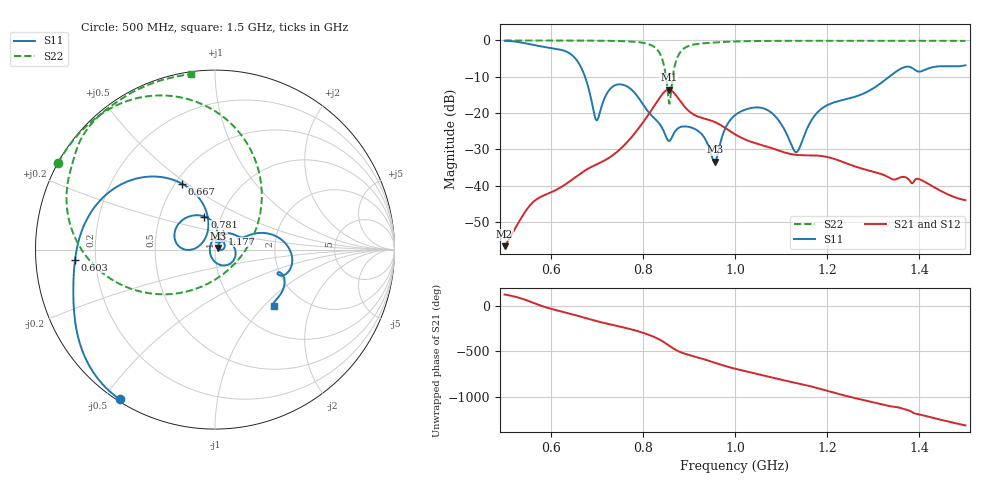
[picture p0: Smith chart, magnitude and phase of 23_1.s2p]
! TOUCHSTONE file generated by CST MICROWAVE STUDIO
! Date and time: Mon Oct 26 12:07:54 2020
! Project name: Scenario_1_Circular_Tissue_out_of_Line_v2.cst
! Parameters = {dy1=34.6; L_HA=400; MT=2.54; Rad_Dielectric=30; Rad_Lower=7.3; Rad_Upper=30; a_HA=580; a_WG=246; b_HA=500; b_WG=121; c_HA=0; c_WG=187; d_feed=85; dx1=173; h_feed=15; h_lower=18; h_upper=40}
! Header version: 2018
! Port assignment regex: !\s*Touchstone port\s*([0-9]+)\s*=\s*(CST MWS port|CST DS port)\s*([0-9]+|Zmin|Zmax)\s*\(\"(.*)\"\)(\s*mode\s*([0-9]+))?.*
! Touchstone port assignment:
! Touchstone port 1 = CST MWS port 1 ("")
! Touchstone port 2 = CST MWS port 2 ("")
# GHz S DB R 50
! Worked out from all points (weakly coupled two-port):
!   1003 points, 500 MHz to 1.5 GHz, reference 50 ohm
!   highest |S21| = -13.53 dB at 856 MHz (marker M1); lowest = -56.7 dB at 500 MHz (marker M2)
!   lowest |S11| = -33.4 dB at 956 MHz (marker M3), VSWR 1.04, Z = 51.9 + j0.99 ohm
!   |S11| at or under -10 dB: 674.5 MHz to 1.335 GHz (660.3 MHz wide, 65.7 % of centre)
!   |S22| runs from -17.4 to 0.0 dB; largest |S21 - S12| = 8.7e-05
!   S11 on the Smith chart (normalised r, x): 500 MHz: 0.01, -0.55; 603 MHz: 0.12, -0.04; 667 MHz: 0.54, +0.48; 781 MHz: 0.83, +0.32; 1.177 GHz: 1.07, +0.19; 1.5 GHz: 1.45, -1.15
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0.5  -0.10 -122.5  -56.67 129.9  -56.67 129.9  -0.01 151.1
0.556  -1.06 -151.1  -45.30 50.5  -45.30 50.5  -0.01 147.3
0.603  -2.14 -175.9  -41.71 -31.1  -41.71 -31.1  -0.02 143.9
0.634  -3.08 158.1  -39.47 -72.0  -39.47 -72.0  -0.03 141.3
0.667  -7.70 116.8  -36.45 -117.3  -36.45 -117.3  -0.04 138.3
0.7  -22.01 145.6  -34.12 -164.4  -34.12 -164.4  -0.07 134.8
0.735  -12.69 165.1  -31.60 153.1  -31.60 153.1  -0.12 130.1
0.781  -14.27 107.7  -25.80 96.1  -25.80 96.1  -0.36 120.0
0.834  -22.63 71.5  -16.28 -2.9  -16.28 -2.9  -3.01 82.7
0.847  -25.48 63.9  -14.14 -41.2  -14.14 -41.2  -7.58 51.4
0.856  -27.68 74.2  -13.53 -72.6  -13.53 -72.6  -16.71 -18.0
0.868  -25.47 84.2  -14.50 -113.1  -14.50 -113.1  -7.71 -143.0
0.888  -23.69 58.6  -17.87 -159.9  -17.87 -159.9  -2.33 177.5
0.927  -25.71 9.7  -21.29 141.8  -21.29 141.8  -0.84 153.9
0.956  -33.43 26.5  -22.46 95.0  -22.46 95.0  -0.57 147.2
1  -20.60 24.2  -25.84 28.7  -25.84 28.7  -0.28 140.3
1.072  -19.29 -52.6  -29.32 -59.0  -29.32 -59.0  -0.13 132.2
1.132  -30.77 -177.5  -31.50 -128.2  -31.50 -128.2  -0.10 126.8
1.167  -21.78 77.5  -31.66 -170.4  -31.66 -170.4  -0.11 124.0
1.177  -20.09 64.8  -31.70 176.1  -31.70 176.1  -0.11 123.3
1.334  -10.08 16.4  -37.76 -24.5  -37.76 -24.5  -0.08 111.5
1.5  -6.84 -43.4  -44.01 120.0  -44.01 119.9  -0.12 97.8
